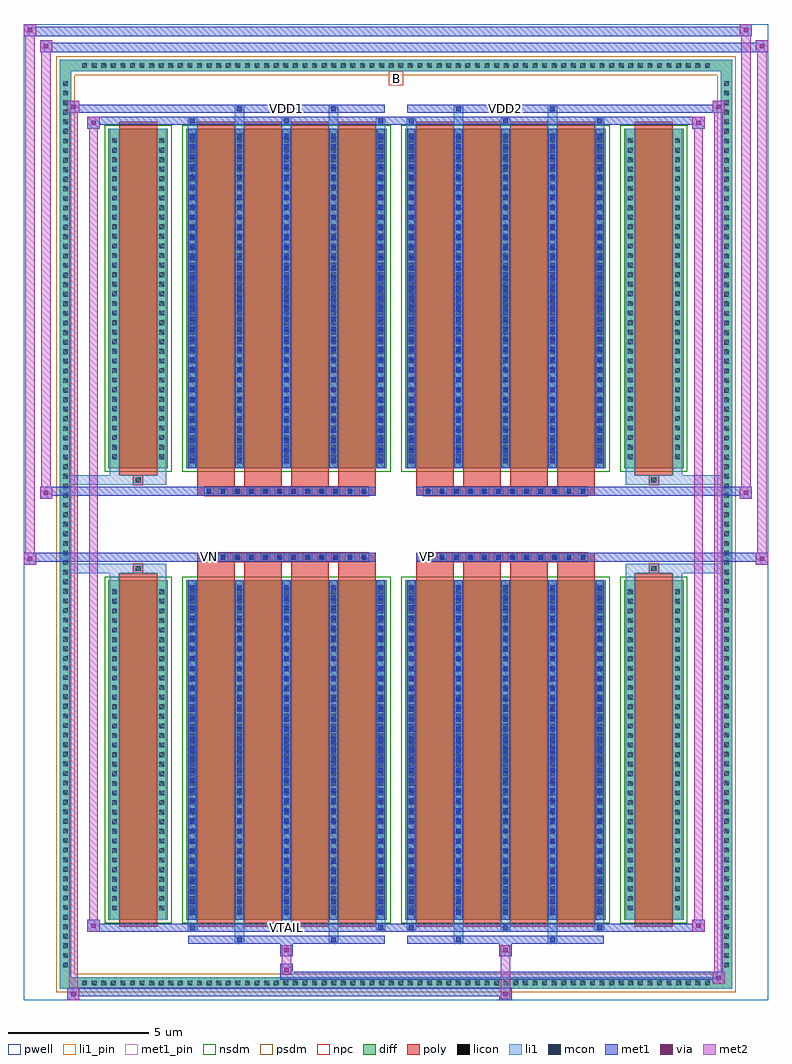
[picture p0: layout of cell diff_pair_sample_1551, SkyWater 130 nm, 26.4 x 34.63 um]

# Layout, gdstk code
import gdstk
lib = gdstk.Library(unit=1e-6, precision=5e-09)
def R(c, l, rs):  # rectangles x0, y0, x1, y1
    for r in rs: c.add(gdstk.rectangle(r[:2], r[2:], *l))
def A(c, l, x, y, w, h, nx, ny, dx, dy):  # array of equal rectangles
    R(c, l, [(x+i*dx, y+j*dy, x+i*dx+w, y+j*dy+h) for i in range(nx) for j in range(ny)])
def P(c, l, *ps):  # polygons
    for p in ps: c.add(gdstk.Polygon(p, *l))
pwell = (64, 44)
diff = (65, 20)
poly = (66, 20)
licon = (66, 44)
li1_pin = (67, 16)
li1 = (67, 20)
mcon = (67, 44)
met1_pin = (68, 16)
met1 = (68, 20)
via = (68, 44)
met2 = (69, 20)
nsdm = (93, 44)
psdm = (94, 20)
npc = (95, 20)

diff_pair_sample_1551 = lib.new_cell('diff_pair_sample_1551')
R(diff_pair_sample_1551, pwell, [(-13.2,-16.88,13.2,17.75), (-10.52,-15.07,-0.01,-0.805), (0.01,-15.07,10.52,-0.805), (-10.52,0.805,-0.01,15.07), (0.01,0.805,10.52,15.07)])
A(diff_pair_sample_1551, diff, -11.255, -16.48, 0.41, 0.41, 66, 2, 0.34, 32.55)
A(diff_pair_sample_1551, diff, -11.93, -15.845, 0.41, 0.41, 1, 93, 0, 0.34)
A(diff_pair_sample_1551, diff, 11.52, -15.845, 0.41, 0.41, 1, 93, 0, 0.34)
R(diff_pair_sample_1551, diff, [(-11.255,-16.48,11.255,-16.07), (-11.93,-15.845,-11.52,15.845), (11.52,-15.845,11.93,15.845), (-10.21,-14.025,-8.09,-1.985), (-7.45,-14.025,-0.32,-1.985), (0.32,-14.025,7.45,-1.985), (8.09,-14.025,10.21,-1.985), (-10.21,1.985,-8.09,14.025), (-7.45,1.985,-0.32,14.025), (0.32,1.985,7.45,14.025), (8.09,1.985,10.21,14.025), (-11.255,16.07,11.255,16.48)])
P(diff_pair_sample_1551, diff, [(11.93,16.48),(-11.93,16.48),(-11.93,-16.07),(-11.52,-16.07),(-11.52,16.07),(11.52,16.07),(11.52,-16.07),(-11.52,-16.07),(-11.93,-16.07),(-11.93,-16.48),(11.93,-16.48)])
A(diff_pair_sample_1551, poly, -7.06, -14.275, 1.34, 12.54, 4, 2, 1.67, 16.01)
A(diff_pair_sample_1551, poly, 0.71, -14.275, 1.34, 12.54, 4, 2, 1.67, 16.01)
A(diff_pair_sample_1551, poly, -7.06, -1.735, 1.34, 0.4, 4, 2, 1.67, 3.07)
A(diff_pair_sample_1551, poly, 0.71, -1.735, 1.34, 0.4, 4, 2, 1.67, 3.07)
A(diff_pair_sample_1551, poly, -6.8, -1.335, 0.33, 0.33, 12, 2, 0.5, 2.34)
A(diff_pair_sample_1551, poly, 0.97, -1.335, 0.33, 0.33, 12, 2, 0.5, 2.34)
R(diff_pair_sample_1551, poly, [(-9.82,-14.275,-8.48,-1.735), (8.48,-14.275,9.82,-1.735), (-9.315,-1.735,-8.985,-1.405), (-9.315,-1.735,-8.985,-1.405), (8.985,-1.735,9.315,-1.405), (8.985,-1.735,9.315,-1.405), (-7.06,-1.335,-0.71,-1.005), (0.71,-1.335,7.06,-1.005), (-7.06,1.005,-0.71,1.335), (0.71,1.005,7.06,1.335), (-9.315,1.405,-8.985,1.735), (-9.315,1.405,-8.985,1.735), (8.985,1.405,9.315,1.735), (8.985,1.405,9.315,1.735), (-9.82,1.735,-8.48,14.275), (8.48,1.735,9.82,14.275)])
A(diff_pair_sample_1551, licon, -11.135, -16.36, 0.17, 0.17, 66, 2, 0.34, 32.55)
A(diff_pair_sample_1551, licon, -11.81, -15.725, 0.17, 0.17, 1, 93, 0, 0.34)
A(diff_pair_sample_1551, licon, 11.64, -15.725, 0.17, 0.17, 1, 93, 0, 0.34)
A(diff_pair_sample_1551, licon, -10.07, -13.7, 0.17, 0.17, 1, 34, 0, 0.34)
A(diff_pair_sample_1551, licon, -8.4, -13.7, 0.17, 0.17, 1, 34, 0, 0.34)
A(diff_pair_sample_1551, licon, -7.31, -13.7, 0.17, 0.17, 5, 34, 1.67, 0.34)
A(diff_pair_sample_1551, licon, 0.46, -13.7, 0.17, 0.17, 5, 34, 1.67, 0.34)
A(diff_pair_sample_1551, licon, 8.23, -13.7, 0.17, 0.17, 1, 34, 0, 0.34)
A(diff_pair_sample_1551, licon, 9.9, -13.7, 0.17, 0.17, 1, 34, 0, 0.34)
A(diff_pair_sample_1551, licon, -6.72, -1.255, 0.17, 0.17, 12, 2, 0.5, 2.34)
A(diff_pair_sample_1551, licon, 1.05, -1.255, 0.17, 0.17, 12, 2, 0.5, 2.34)
A(diff_pair_sample_1551, licon, -10.07, 2.31, 0.17, 0.17, 1, 34, 0, 0.34)
A(diff_pair_sample_1551, licon, -8.4, 2.31, 0.17, 0.17, 1, 34, 0, 0.34)
A(diff_pair_sample_1551, licon, -7.31, 2.31, 0.17, 0.17, 5, 34, 1.67, 0.34)
A(diff_pair_sample_1551, licon, 0.46, 2.31, 0.17, 0.17, 5, 34, 1.67, 0.34)
A(diff_pair_sample_1551, licon, 8.23, 2.31, 0.17, 0.17, 1, 34, 0, 0.34)
A(diff_pair_sample_1551, licon, 9.9, 2.31, 0.17, 0.17, 1, 34, 0, 0.34)
R(diff_pair_sample_1551, licon, [(-9.235,-1.655,-9.065,-1.485), (9.065,-1.655,9.235,-1.485), (-9.235,1.485,-9.065,1.655), (9.065,1.485,9.235,1.655)])
R(diff_pair_sample_1551, li1_pin, [(-0.25,15.57,0.25,16.07)])
A(diff_pair_sample_1551, li1, -11.215, -16.44, 0.33, 0.33, 66, 2, 0.34, 32.55)
A(diff_pair_sample_1551, li1, -11.89, -15.805, 0.33, 0.33, 1, 93, 0, 0.34)
A(diff_pair_sample_1551, li1, 11.56, -15.805, 0.33, 0.33, 1, 93, 0, 0.34)
A(diff_pair_sample_1551, li1, -7.39, -14.4, 0.33, 0.375, 3, 2, 3.34, 28.425)
A(diff_pair_sample_1551, li1, -7.31, -14.4, 0.17, 0.17, 3, 2, 3.34, 28.63)
A(diff_pair_sample_1551, li1, 0.38, -14.4, 0.33, 0.375, 3, 2, 3.34, 28.425)
A(diff_pair_sample_1551, li1, 0.46, -14.4, 0.17, 0.17, 3, 2, 3.34, 28.63)
A(diff_pair_sample_1551, li1, -7.39, -14.025, 0.33, 12.04, 5, 2, 1.67, 16.01)
A(diff_pair_sample_1551, li1, 0.38, -14.025, 0.33, 12.04, 5, 2, 1.67, 16.01)
A(diff_pair_sample_1551, li1, -7.31, -13.85, 0.17, 0.17, 5, 33, 1.67, 0.36)
A(diff_pair_sample_1551, li1, -7.31, -13.85, 0.17, 11.69, 5, 2, 1.67, 16.01)
A(diff_pair_sample_1551, li1, 0.46, -13.85, 0.17, 0.17, 5, 33, 1.67, 0.36)
A(diff_pair_sample_1551, li1, 0.46, -13.85, 0.17, 11.69, 5, 2, 1.67, 16.01)
A(diff_pair_sample_1551, li1, -10.15, -13.78, 0.33, 0.33, 1, 34, 0, 0.34)
A(diff_pair_sample_1551, li1, -8.48, -13.78, 0.33, 0.33, 1, 34, 0, 0.34)
A(diff_pair_sample_1551, li1, -7.39, -13.78, 0.33, 0.33, 5, 34, 1.67, 0.34)
A(diff_pair_sample_1551, li1, 0.38, -13.78, 0.33, 0.33, 5, 34, 1.67, 0.34)
A(diff_pair_sample_1551, li1, 8.15, -13.78, 0.33, 0.33, 1, 34, 0, 0.34)
A(diff_pair_sample_1551, li1, 9.82, -13.78, 0.33, 0.33, 1, 34, 0, 0.34)
A(diff_pair_sample_1551, li1, -6.8, -1.335, 0.33, 0.33, 12, 2, 0.5, 2.34)
A(diff_pair_sample_1551, li1, 0.97, -1.335, 0.33, 0.33, 12, 2, 0.5, 2.34)
A(diff_pair_sample_1551, li1, -7.31, 2.16, 0.17, 0.17, 5, 33, 1.67, 0.36)
A(diff_pair_sample_1551, li1, 0.46, 2.16, 0.17, 0.17, 5, 33, 1.67, 0.36)
A(diff_pair_sample_1551, li1, -10.15, 2.23, 0.33, 0.33, 1, 34, 0, 0.34)
A(diff_pair_sample_1551, li1, -8.48, 2.23, 0.33, 0.33, 1, 34, 0, 0.34)
A(diff_pair_sample_1551, li1, -7.39, 2.23, 0.33, 0.33, 5, 34, 1.67, 0.34)
A(diff_pair_sample_1551, li1, 0.38, 2.23, 0.33, 0.33, 5, 34, 1.67, 0.34)
A(diff_pair_sample_1551, li1, 8.15, 2.23, 0.33, 0.33, 1, 34, 0, 0.34)
A(diff_pair_sample_1551, li1, 9.82, 2.23, 0.33, 0.33, 1, 34, 0, 0.34)
R(diff_pair_sample_1551, li1, [(-11.93,-16.48,-11.52,-16.07), (-11.93,-16.48,-11.52,-16.07), (-11.52,-16.48,11.52,-16.07), (11.52,-16.48,11.93,-16.07), (11.52,-16.48,11.93,-16.07), (-11.93,-16.07,-11.52,16.07), (11.52,-16.07,11.93,16.07), (-5.72,-14.83,-5.39,-14.025), (-5.64,-14.83,-5.47,-14.66), (-2.38,-14.83,-2.05,-14.025), (-2.3,-14.83,-2.13,-14.66), (2.05,-14.83,2.38,-14.025), (2.13,-14.83,2.3,-14.66), (5.39,-14.83,5.72,-14.025), (5.47,-14.83,5.64,-14.66), (-10.15,-14.025,-9.82,-1.985), (-8.48,-14.025,-8.15,-1.985), (8.15,-14.025,8.48,-1.985), (9.82,-14.025,10.15,-1.985), (-10.15,-1.985,-9.82,-1.405), (-8.48,-1.985,-8.15,-1.405), (8.15,-1.985,8.48,-1.405), (9.82,-1.985,10.15,-1.405), (-11.93,-1.735,-9.315,-1.405), (-10.15,-1.735,-9.315,-1.405), (-9.315,-1.735,-8.985,-1.405), (-8.985,-1.735,-8.15,-1.405), (8.15,-1.735,8.985,-1.405), (8.985,-1.735,9.315,-1.405), (8.985,-1.735,11.93,-1.405), (9.315,-1.735,10.15,-1.405), (-11.93,1.405,-9.315,1.735), (-10.15,1.405,-9.315,1.735), (-10.15,1.405,-9.82,1.985), (-9.315,1.405,-8.985,1.735), (-8.985,1.405,-8.15,1.735), (-8.48,1.405,-8.15,1.985), (8.15,1.405,8.985,1.735), (8.15,1.405,8.48,1.985), (8.985,1.405,9.315,1.735), (8.985,1.405,11.93,1.735), (9.315,1.405,10.15,1.735), (9.82,1.405,10.15,1.985), (-10.15,1.985,-9.82,14.025), (-8.48,1.985,-8.15,14.025), (8.15,1.985,8.48,14.025), (9.82,1.985,10.15,14.025), (-5.72,14.025,-5.39,14.83), (-2.38,14.025,-2.05,14.83), (2.05,14.025,2.38,14.83), (5.39,14.025,5.72,14.83), (-5.64,14.66,-5.47,14.83), (-2.3,14.66,-2.13,14.83), (2.13,14.66,2.3,14.83), (5.47,14.66,5.64,14.83), (-11.93,16.07,-11.52,16.48), (-11.93,16.07,-11.52,16.48), (-11.52,16.07,11.52,16.48), (11.52,16.07,11.93,16.48), (11.52,16.07,11.93,16.48)])
A(diff_pair_sample_1551, mcon, -7.31, -14.4, 0.17, 0.17, 3, 2, 3.34, 28.63)
A(diff_pair_sample_1551, mcon, 0.46, -14.4, 0.17, 0.17, 3, 2, 3.34, 28.63)
A(diff_pair_sample_1551, mcon, -7.31, -13.85, 0.17, 0.17, 5, 33, 1.67, 0.36)
A(diff_pair_sample_1551, mcon, 0.46, -13.85, 0.17, 0.17, 5, 33, 1.67, 0.36)
A(diff_pair_sample_1551, mcon, -6.72, -1.255, 0.17, 0.17, 12, 2, 0.5, 2.34)
A(diff_pair_sample_1551, mcon, 1.05, -1.255, 0.17, 0.17, 12, 2, 0.5, 2.34)
A(diff_pair_sample_1551, mcon, -7.31, 2.16, 0.17, 0.17, 5, 33, 1.67, 0.36)
A(diff_pair_sample_1551, mcon, 0.46, 2.16, 0.17, 0.17, 5, 33, 1.67, 0.36)
R(diff_pair_sample_1551, mcon, [(-5.64,-14.83,-5.47,-14.66), (-2.3,-14.83,-2.13,-14.66), (2.13,-14.83,2.3,-14.66), (5.47,-14.83,5.64,-14.66), (-5.64,14.66,-5.47,14.83), (-2.3,14.66,-2.13,14.83), (2.13,14.66,2.3,14.83), (5.47,14.66,5.64,14.83)])
R(diff_pair_sample_1551, met1_pin, [(-4.02,-14.44,-3.75,-14.17), (-6.77,-1.295,-6.5,-1.025), (1,-1.295,1.27,-1.025), (-4.02,14.62,-3.75,14.89), (3.75,14.62,4.02,14.89)])
A(diff_pair_sample_1551, met1, -7.37, -14.46, 0.29, 0.29, 3, 2, 3.34, 28.63)
A(diff_pair_sample_1551, met1, 0.4, -14.46, 0.29, 0.29, 3, 2, 3.34, 28.63)
A(diff_pair_sample_1551, met1, -7.37, -14.025, 0.29, 12.04, 5, 2, 1.67, 16.01)
A(diff_pair_sample_1551, met1, 0.4, -14.025, 0.29, 12.04, 5, 2, 1.67, 16.01)
A(diff_pair_sample_1551, met1, -7.37, -13.91, 0.29, 0.29, 5, 33, 1.67, 0.36)
A(diff_pair_sample_1551, met1, 0.4, -13.91, 0.29, 0.29, 5, 33, 1.67, 0.36)
A(diff_pair_sample_1551, met1, -6.78, -1.315, 0.29, 0.29, 12, 2, 0.5, 2.34)
A(diff_pair_sample_1551, met1, 0.99, -1.315, 0.29, 0.29, 12, 2, 0.5, 2.34)
A(diff_pair_sample_1551, met1, -7.37, 2.1, 0.29, 0.29, 5, 33, 1.67, 0.36)
A(diff_pair_sample_1551, met1, 0.4, 2.1, 0.29, 0.29, 5, 33, 1.67, 0.36)
R(diff_pair_sample_1551, met1, [(-11.66,-16.88,-11.23,-16.45), (3.67,-16.88,4.1,-16.45), (-11.66,-16.74,4.1,-16.45), (11.23,-16.31,11.66,-15.88), (-4.1,-16.17,11.66,-15.88), (-4.1,-16.03,-3.67,-15.6), (-4.1,-15.32,-3.67,-14.89), (3.67,-15.32,4.1,-14.89), (-7.37,-14.89,-0.4,-14.6), (-5.7,-14.89,-5.41,-14.6), (-2.36,-14.89,-2.07,-14.6), (0.4,-14.89,7.37,-14.6), (2.07,-14.89,2.36,-14.6), (5.41,-14.89,5.7,-14.6), (-10.95,-14.46,-10.52,-14.03), (-10.95,-14.46,-7.37,-14.17), (-7.37,-14.46,-0.4,-14.17), (-0.4,-14.46,0.4,-14.17), (0.4,-14.46,7.37,-14.17), (7.37,-14.46,10.95,-14.17), (10.52,-14.46,10.95,-14.03), (-13.2,-1.435,-12.77,-1.005), (12.77,-1.435,13.2,-1.005), (-13.2,-1.335,-0.71,-1.005), (-7.06,-1.335,-0.71,-1.005), (0.71,-1.335,7.06,-1.005), (0.71,-1.335,13.2,-1.005), (-12.63,0.905,-12.2,1.335), (12.2,0.905,12.63,1.335), (-12.63,1.005,-7.06,1.335), (-7.06,1.005,-0.71,1.335), (0.71,1.005,7.06,1.335), (7.06,1.005,12.63,1.335), (-10.95,14.03,-10.52,14.46), (10.52,14.03,10.95,14.46), (-10.95,14.17,-7.37,14.46), (-7.37,14.17,-0.4,14.46), (-0.4,14.17,0.4,14.46), (0.4,14.17,7.37,14.46), (7.37,14.17,10.95,14.46), (-11.66,14.6,-11.23,15.03), (-11.66,14.6,-7.37,14.89), (-7.37,14.6,-0.4,14.89), (-5.7,14.6,-5.41,14.89), (-2.36,14.6,-2.07,14.89), (0.4,14.6,7.37,14.89), (2.07,14.6,2.36,14.89), (5.41,14.6,5.7,14.89), (7.37,14.6,11.66,14.89), (11.23,14.6,11.66,15.03), (-12.63,16.75,-12.2,17.18), (-12.63,16.75,-10.52,17.08), (-10.52,16.75,10.52,17.08), (10.52,16.75,13.2,17.08), (12.77,16.75,13.2,17.18), (-13.2,17.32,-12.77,17.75), (-13.2,17.32,-10.52,17.65), (-10.52,17.32,10.52,17.65), (10.52,17.32,12.63,17.65), (12.2,17.32,12.63,17.75)])
R(diff_pair_sample_1551, via, [(-11.52,-16.74,-11.37,-16.59), (3.81,-16.74,3.96,-16.59), (11.37,-16.17,11.52,-16.02), (-3.96,-15.89,-3.81,-15.74), (-3.96,-15.18,-3.81,-15.03), (3.81,-15.18,3.96,-15.03), (-10.81,-14.32,-10.66,-14.17), (10.66,-14.32,10.81,-14.17), (-13.06,-1.295,-12.91,-1.145), (12.91,-1.295,13.06,-1.145), (-12.49,1.045,-12.34,1.195), (12.34,1.045,12.49,1.195), (-10.81,14.17,-10.66,14.32), (10.66,14.17,10.81,14.32), (-11.52,14.74,-11.37,14.89), (11.37,14.74,11.52,14.89), (-12.49,16.89,-12.34,17.04), (12.91,16.89,13.06,17.04), (-13.06,17.46,-12.91,17.61), (12.34,17.46,12.49,17.61)])
R(diff_pair_sample_1551, met2, [(-11.66,-16.88,-11.23,-16.45), (-11.59,-16.88,-11.3,15.03), (-11.3,-16.88,-11.23,-16.45), (-11.61,-16.83,-11.28,-16.5), (3.72,-16.83,4.05,-16.5), (3.72,-16.5,4.05,-15.27), (11.23,-16.31,11.66,-15.88), (11.3,-16.31,11.59,15.03), (11.59,-16.31,11.66,-15.88), (11.28,-16.26,11.61,-15.93), (-4.05,-15.98,-3.72,-15.65), (-4.05,-15.65,-3.72,-15.27), (-4.05,-15.27,-3.72,-14.94), (3.72,-15.27,4.05,-14.94), (-10.95,-14.46,-10.52,-14.03), (-10.88,-14.46,-10.59,14.46), (-10.59,-14.46,-10.52,-14.03), (10.52,-14.46,10.95,-14.03), (10.59,-14.46,10.88,14.46), (10.88,-14.46,10.95,-14.03), (-10.9,-14.41,-10.57,-14.08), (10.57,-14.41,10.9,-14.08), (-13.2,-1.435,-12.77,-1.005), (-13.15,-1.435,-12.82,17.75), (-12.82,-1.435,-12.77,-1.005), (12.77,-1.435,13.2,-1.005), (12.82,-1.435,13.15,17.18), (13.15,-1.435,13.2,-1.005), (-13.15,-1.385,-12.82,-1.055), (12.82,-1.385,13.15,-1.055), (-12.63,0.905,-12.2,1.335), (-12.58,0.905,-12.25,17.18), (-12.25,0.905,-12.2,1.335), (12.2,0.905,12.63,1.335), (12.25,0.905,12.58,17.75), (12.58,0.905,12.63,1.335), (-12.58,0.955,-12.25,1.285), (12.25,0.955,12.58,1.285), (-10.95,14.03,-10.52,14.46), (-10.59,14.03,-10.52,14.46), (10.52,14.03,10.95,14.46), (10.88,14.03,10.95,14.46), (-10.9,14.08,-10.57,14.41), (10.57,14.08,10.9,14.41), (-11.66,14.6,-11.23,15.03), (-11.3,14.6,-11.23,15.03), (11.23,14.6,11.66,15.03), (11.59,14.6,11.66,15.03), (-11.61,14.65,-11.28,14.98), (11.28,14.65,11.61,14.98), (-12.63,16.75,-12.2,17.18), (-12.25,16.75,-12.2,17.18), (12.77,16.75,13.2,17.18), (13.15,16.75,13.2,17.18), (-12.58,16.8,-12.25,17.13), (12.82,16.8,13.15,17.13), (-13.2,17.32,-12.77,17.75), (-12.82,17.32,-12.77,17.75), (12.2,17.32,12.63,17.75), (12.58,17.32,12.63,17.75), (-13.15,17.37,-12.82,17.7), (12.25,17.37,12.58,17.7)])
R(diff_pair_sample_1551, nsdm, [(-10.34,-14.155,-7.96,-1.855), (-7.58,-14.155,-0.19,-1.855), (0.19,-14.155,7.58,-1.855), (7.96,-14.155,10.34,-1.855), (-10.34,1.855,-7.96,14.155), (-7.58,1.855,-0.19,14.155), (0.19,1.855,7.58,14.155), (7.96,1.855,10.34,14.155)])
P(diff_pair_sample_1551, psdm, [(12.06,16.61),(-12.06,16.61),(-12.06,-15.94),(-11.39,-15.94),(-11.39,15.94),(11.39,15.94),(11.39,-15.94),(-11.39,-15.94),(-12.06,-15.94),(-12.06,-16.61),(12.06,-16.61)])
A(diff_pair_sample_1551, npc, -6.82, -1.355, 0.37, 0.37, 12, 2, 0.5, 2.34)
A(diff_pair_sample_1551, npc, 0.95, -1.355, 0.37, 0.37, 12, 2, 0.5, 2.34)
R(diff_pair_sample_1551, npc, [(-9.335,-1.755,-8.965,-1.385), (8.965,-1.755,9.335,-1.385), (-6.82,-1.355,-5.95,-0.985), (-6.82,-1.355,-5.95,-0.985), (-6.32,-1.355,-5.45,-0.985), (-6.32,-1.355,-5.45,-0.985), (-5.82,-1.355,-4.95,-0.985), (-5.82,-1.355,-4.95,-0.985), (-5.32,-1.355,-4.45,-0.985), (-5.32,-1.355,-4.45,-0.985), (-4.82,-1.355,-3.95,-0.985), (-4.82,-1.355,-3.95,-0.985), (-4.32,-1.355,-3.45,-0.985), (-4.32,-1.355,-3.45,-0.985), (-3.82,-1.355,-2.95,-0.985), (-3.82,-1.355,-2.95,-0.985), (-3.32,-1.355,-2.45,-0.985), (-3.32,-1.355,-2.45,-0.985), (-2.82,-1.355,-1.95,-0.985), (-2.82,-1.355,-1.95,-0.985), (-2.32,-1.355,-1.45,-0.985), (-2.32,-1.355,-1.45,-0.985), (-1.82,-1.355,-0.95,-0.985), (-1.82,-1.355,-0.95,-0.985), (0.95,-1.355,1.82,-0.985), (0.95,-1.355,1.82,-0.985), (1.45,-1.355,2.32,-0.985), (1.45,-1.355,2.32,-0.985), (1.95,-1.355,2.82,-0.985), (1.95,-1.355,2.82,-0.985), (2.45,-1.355,3.32,-0.985), (2.45,-1.355,3.32,-0.985), (2.95,-1.355,3.82,-0.985), (2.95,-1.355,3.82,-0.985), (3.45,-1.355,4.32,-0.985), (3.45,-1.355,4.32,-0.985), (3.95,-1.355,4.82,-0.985), (3.95,-1.355,4.82,-0.985), (4.45,-1.355,5.32,-0.985), (4.45,-1.355,5.32,-0.985), (4.95,-1.355,5.82,-0.985), (4.95,-1.355,5.82,-0.985), (5.45,-1.355,6.32,-0.985), (5.45,-1.355,6.32,-0.985), (5.95,-1.355,6.82,-0.985), (5.95,-1.355,6.82,-0.985), (-6.82,0.985,-5.95,1.355), (-6.82,0.985,-5.95,1.355), (-6.32,0.985,-5.45,1.355), (-6.32,0.985,-5.45,1.355), (-5.82,0.985,-4.95,1.355), (-5.82,0.985,-4.95,1.355), (-5.32,0.985,-4.45,1.355), (-5.32,0.985,-4.45,1.355), (-4.82,0.985,-3.95,1.355), (-4.82,0.985,-3.95,1.355), (-4.32,0.985,-3.45,1.355), (-4.32,0.985,-3.45,1.355), (-3.82,0.985,-2.95,1.355), (-3.82,0.985,-2.95,1.355), (-3.32,0.985,-2.45,1.355), (-3.32,0.985,-2.45,1.355), (-2.82,0.985,-1.95,1.355), (-2.82,0.985,-1.95,1.355), (-2.32,0.985,-1.45,1.355), (-2.32,0.985,-1.45,1.355), (-1.82,0.985,-0.95,1.355), (-1.82,0.985,-0.95,1.355), (0.95,0.985,1.82,1.355), (0.95,0.985,1.82,1.355), (1.45,0.985,2.32,1.355), (1.45,0.985,2.32,1.355), (1.95,0.985,2.82,1.355), (1.95,0.985,2.82,1.355), (2.45,0.985,3.32,1.355), (2.45,0.985,3.32,1.355), (2.95,0.985,3.82,1.355), (2.95,0.985,3.82,1.355), (3.45,0.985,4.32,1.355), (3.45,0.985,4.32,1.355), (3.95,0.985,4.82,1.355), (3.95,0.985,4.82,1.355), (4.45,0.985,5.32,1.355), (4.45,0.985,5.32,1.355), (4.95,0.985,5.82,1.355), (4.95,0.985,5.82,1.355), (5.45,0.985,6.32,1.355), (5.45,0.985,6.32,1.355), (5.95,0.985,6.82,1.355), (5.95,0.985,6.82,1.355), (-9.335,1.385,-8.965,1.755), (8.965,1.385,9.335,1.755)])
diff_pair_sample_1551.add(gdstk.Label('VTAIL', (-3.885,-14.305), layer=68, texttype=5))
diff_pair_sample_1551.add(gdstk.Label('VN', (-6.635,-1.16), layer=68, texttype=5))
diff_pair_sample_1551.add(gdstk.Label('VP', (1.135,-1.16), layer=68, texttype=5))
diff_pair_sample_1551.add(gdstk.Label('B', (0,15.82), layer=67, texttype=5))
diff_pair_sample_1551.add(gdstk.Label('VDD2', (3.885,14.755), layer=68, texttype=5))
diff_pair_sample_1551.add(gdstk.Label('VDD1', (-3.885,14.755), layer=68, texttype=5))

lib.write_gds('diff_pair_sample_1551.gds')
